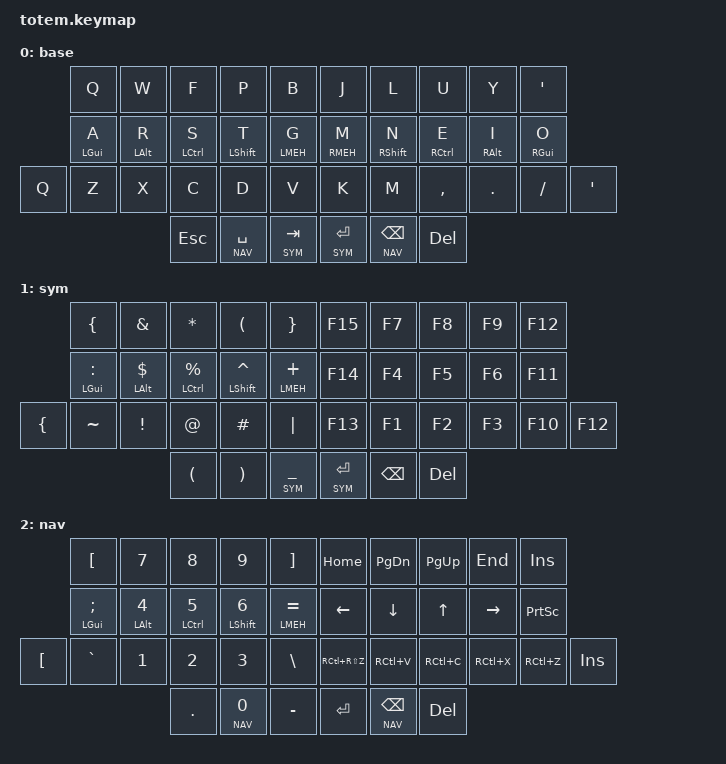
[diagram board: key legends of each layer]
//
//                                                        ▀▀▀▀▀     ▀▀▀▀▀          ▀▀█▀▀
//                                                        ▄▀▀▀▄  ▄  ▄▀▀▀▄  ▄  ▄▀▀▀▄  █  ▄▀▀▀▄
//                                                        █   █  █  █   █  █  █   █  █  █   █
//                                                         ▀▀▀   █   ▀▀▀   █   ▀▀▀   ▀   ▀▀▀
//                                                               █      ▄▄▄█▄▄▄    █   █
//                                                               ▀      █  █  █     █▄█
//                                                             ▀▀▀▀▀    █  █  █      ▀
//                                                                      ▀  ▀  ▀
//
// ▄▄▄▄▄▄▄▄▄▄▄▄▄▄▄▄▄▄▄▄▄▄▄▄▄▄▄▄▄▄▄▄▄▄▄▄▄▄▄▄▄▄▄▄▄▄▄▄▄▄▄▄▄▄▄▄▄▄▄▄▄▄▄▄▄▄▄▄▄▄▄▄▄▄▄▄▄▄▄▄▄▄▄▄▄▄▄▄▄▄▄▄▄▄▄▄▄▄▄▄▄▄▄▄▄▄▄▄▄▄▄▄▄▄▄▄▄▄▄▄▄▄▄▄▄▄▄▄▄▄▄▄▄▄▄▄▄▄▄▄▄▄▄▄▄▄▄▄▄


#include <behaviors.dtsi>
#include <dt-bindings/zmk/bt.h>
#include <dt-bindings/zmk/keys.h>
#include <dt-bindings/zmk/mouse.h>

#define BASE 0
#define SYM  1
#define NAV  2

&mt {
  quick-tap-ms = <100>;
  global-quick-tap;
  flavor = "tap-preferred";
  tapping-term-ms = <170>;
};

/ {
    behaviors {
        mht: meh_tap {
            compatible = "zmk,behavior-mod-tap";
            label = "MEH_TAP";
            #binding-cells = <2>;
            bindings = <&kp LC(LS(LALT))> <&kp>;
        };

        alt_f1: alt_f1 {
            compatible = "zmk,behavior-mod-morph";
            label = "ALT_F1";
            #binding-cells = <0>;
            bindings = <&kp N1>, <&kp F1>;

            mods = <(MOD_LALT|MOD_RALT)>;
        };

        alt_f2: alt_f2 {
            compatible = "zmk,behavior-mod-morph";
            label = "ALT_F2";
            #binding-cells = <0>;
            bindings = <&kp N2>, <&kp F2>;

            mods = <(MOD_LALT|MOD_RALT)>;
        };

        alt_f3: alt_f3 {
            compatible = "zmk,behavior-mod-morph";
            label = "ALT_F3";
            #binding-cells = <0>;
            bindings = <&kp N3>, <&kp F3>;

            mods = <(MOD_LALT|MOD_RALT)>;
        };

        alt_f4: alt_f4 {
            compatible = "zmk,behavior-mod-morph";
            label = "ALT_F4";
            #binding-cells = <0>;
            bindings = <&kp N4>, <&kp F4>;

            mods = <(MOD_LALT|MOD_RALT)>;
        };

        alt_f5: alt_f5 {
            compatible = "zmk,behavior-mod-morph";
            label = "ALT_F5";
            #binding-cells = <0>;
            bindings = <&kp N5>, <&kp F5>;

            mods = <(MOD_LALT|MOD_RALT)>;
        };

        alt_f6: alt_f6 {
            compatible = "zmk,behavior-mod-morph";
            label = "ALT_F6";
            #binding-cells = <0>;
            bindings = <&kp N6>, <&kp F6>;

            mods = <(MOD_LALT|MOD_RALT)>;
        };

        alt_f7: alt_f7 {
            compatible = "zmk,behavior-mod-morph";
            label = "ALT_F7";
            #binding-cells = <0>;
            bindings = <&kp N7>, <&kp F7>;

            mods = <(MOD_LALT|MOD_RALT)>;
        };

        alt_f8: alt_f8 {
            compatible = "zmk,behavior-mod-morph";
            label = "ALT_F8";
            #binding-cells = <0>;
            bindings = <&kp N8>, <&kp F8>;

            mods = <(MOD_LALT|MOD_RALT)>;
        };

        alt_f9: alt_f9 {
            compatible = "zmk,behavior-mod-morph";
            label = "ALT_F9";
            #binding-cells = <0>;
            bindings = <&kp N9>, <&kp F9>;

            mods = <(MOD_LALT|MOD_RALT)>;
        };

        alt_f10: alt_f10 {
            compatible = "zmk,behavior-mod-morph";
            label = "ALT_F10";
            #binding-cells = <0>;
            bindings = <&kp N0>, <&kp F10>;

            mods = <(MOD_LALT|MOD_RALT)>;
        };
    };

    combos {
        compatible = "zmk,combos";

        c_bt_previous {
            bindings = <&bt BT_PRV>;
            key-positions = <5 6>;
        };

        c_bt_next {
            bindings = <&bt BT_NXT>;
            key-positions = <6 7>;
        };

        c_bt_clear {
            bindings = <&bt BT_CLR>;
            key-positions = <5 6 7>;
        };

        bootloader {
            bindings = <&bootloader>;
            key-positions = <30 31>;
        };
    };

    keymap {
        compatible = "zmk,keymap";
// ▄▄▄▄▄▄▄▄▄▄▄▄▄▄▄▄▄▄▄▄▄▄▄▄▄▄▄▄▄▄▄▄▄▄▄▄▄▄▄▄▄▄▄▄▄▄▄▄▄▄▄▄▄▄▄▄▄▄▄▄▄▄▄▄▄▄▄▄▄▄▄▄▄▄▄▄▄▄▄▄▄▄▄▄▄▄▄▄▄▄▄▄▄▄▄▄▄▄▄▄▄▄▄▄▄▄▄▄▄▄▄▄▄▄▄▄▄▄▄▄▄▄▄▄▄▄▄▄▄▄▄▄▄▄▄▄▄▄▄▄▄▄▄▄▄▄▄▄▄

        base {
// ┏━━━━━━━━━━━━━━━━━━━━━━━━━━━━━━━━━━━━━━━┓
display-name = "base"                      ;
// ┗━━━━━━━━━━━━━━━━━━━━━━━━━━━━━━━━━━━━━━━┛
//             ┏━━━━━━━━━━━━━━━┳━━━━━━━━━━━━━━━┳━━━━━━━━━━━━━━━┳━━━━━━━━━━━━━━━┳━━━━━━━━━━━━━━━┓   ┏━━━━━━━━━━━━━━━┳━━━━━━━━━━━━━━━┳━━━━━━━━━━━━━━━┳━━━━━━━━━━━━━━━┳━━━━━━━━━━━━━━━┓
//             ┃       Q       ┃       W       ┃       F       ┃       P       ┃       G       ┃   ┃       J       ┃       L       ┃       U       ┃       Y       ┃       ;       ┃
//             ┣━━━━━━━━━━━━━━━╋━━━━━━━━━━━━━━━╋━━━━━━━━━━━━━━━╋━━━━━━━━━━━━━━━╋━━━━━━━━━━━━━━━┫   ┣━━━━━━━━━━━━━━━╋━━━━━━━━━━━━━━━╋━━━━━━━━━━━━━━━╋━━━━━━━━━━━━━━━╋━━━━━━━━━━━━━━━┫
//             ┃       A       ┃       R       ┃       S       ┃       T       ┃       D       ┃   ┃       H       ┃       N       ┃       E       ┃       I       ┃       O       ┃
// ┏━━━━━━━━━━━╋━━━━━━━━━━━━━━━╋━━━━━━━━━━━━━━━╋━━━━━━━━━━━━━━━╋━━━━━━━━━━━━━━━╋━━━━━━━━━━━━━━━┫   ┣━━━━━━━━━━━━━━━╋━━━━━━━━━━━━━━━╋━━━━━━━━━━━━━━━╋━━━━━━━━━━━━━━━╋━━━━━━━━━━━━━━━╋━━━━━━━━━━━┓
// ┃     Q     ┃       Z       ┃       X       ┃       C       ┃       V       ┃       B       ┃   ┃       K       ┃       M       ┃       ,       ┃       .       ┃       /       ┃     \     ┃
// ┗━━━━━━━━━━━┻━━━━━━━━━━━━━━━┻━━━━━━━━━━━━━━━╋━━━━━━━━━━━━━━━╋━━━━━━━━━━━━━━━╋━━━━━━━━━━━━━━━┫   ┣━━━━━━━━━━━━━━━╋━━━━━━━━━━━━━━━╋━━━━━━━━━━━━━━━╋━━━━━━━━━━━━━━━┻━━━━━━━━━━━━━━━┻━━━━━━━━━━━┛
//                                             ┃      DEL      ┃      TAB      ┃      SPC      ┃   ┃     ENTER     ┃     BSPC      ┃      DEL      ┃
//                                             ┗━━━━━━━━━━━━━━━┻━━━━━━━━━━━━━━━┻━━━━━━━━━━━━━━━┛   ┗━━━━━━━━━━━━━━━┻━━━━━━━━━━━━━━━┻━━━━━━━━━━━━━━━┛
            bindings = <
// ╷           ╷               ╷               ╷               ╷               ╷               ╷   ╷               ╷               ╷               ╷               ╷               ╷           ╷

                &kp Q           &kp W           &kp F           &kp P           &kp B               &kp J           &kp L           &kp U           &kp Y           &kp APOS
                &mt LGUI A      &mt LALT R      &mt LCTRL S     &mt LSHFT T     &mt LMEH G          &mt RMEH M      &mt RSHFT N     &mt RCTRL E     &mt RALT I      &mt RGUI O
    &kp Q       &kp Z           &kp X           &kp C           &kp D           &kp V               &kp K           &kp M           &kp COMMA       &kp DOT         &kp FSLH        &kp APOS
                                                &kp ESC         &lt NAV SPACE   &lt SYM TAB         &lt SYM RET     &lt NAV BSPC    &kp DEL
            >;
        };
// ▄▄▄▄▄▄▄▄▄▄▄▄▄▄▄▄▄▄▄▄▄▄▄▄▄▄▄▄▄▄▄▄▄▄▄▄▄▄▄▄▄▄▄▄▄▄▄▄▄▄▄▄▄▄▄▄▄▄▄▄▄▄▄▄▄▄▄▄▄▄▄▄▄▄▄▄▄▄▄▄▄▄▄▄▄▄▄▄▄▄▄▄▄▄▄▄▄▄▄▄▄▄▄▄▄▄▄▄▄▄▄▄▄▄▄▄▄▄▄▄▄▄▄▄▄▄▄▄▄▄▄▄▄▄▄▄▄▄▄▄▄▄▄▄▄▄▄▄▄

        sym_layer {
// ┏━━━━━━━━━━━━━━━━━━━━━━━━━━━━━━━━━━━━━━━┓
display-name = "sym"                       ;
// ┗━━━━━━━━━━━━━━━━━━━━━━━━━━━━━━━━━━━━━━━┛
//             ┏━━━━━━━━━━━━━━━┳━━━━━━━━━━━━━━━┳━━━━━━━━━━━━━━━┳━━━━━━━━━━━━━━━┳━━━━━━━━━━━━━━━┓   ┏━━━━━━━━━━━━━━━┳━━━━━━━━━━━━━━━┳━━━━━━━━━━━━━━━┳━━━━━━━━━━━━━━━┳━━━━━━━━━━━━━━━┓
//             ┃       {       ┃       &       ┃       *       ┃       (       ┃       }       ┃   ┃      F15      ┃      F7       ┃      F8       ┃      F9       ┃      F12      ┃
//             ┣━━━━━━━━━━━━━━━╋━━━━━━━━━━━━━━━╋━━━━━━━━━━━━━━━╋━━━━━━━━━━━━━━━╋━━━━━━━━━━━━━━━┫   ┣━━━━━━━━━━━━━━━╋━━━━━━━━━━━━━━━╋━━━━━━━━━━━━━━━╋━━━━━━━━━━━━━━━╋━━━━━━━━━━━━━━━┫
//             ┃       :       ┃       $       ┃       %       ┃       ^       ┃       +       ┃   ┃      F14      ┃      F4       ┃      F5       ┃      F6       ┃      F11      ┃
// ┏━━━━━━━━━━━╋━━━━━━━━━━━━━━━╋━━━━━━━━━━━━━━━╋━━━━━━━━━━━━━━━╋━━━━━━━━━━━━━━━╋━━━━━━━━━━━━━━━┫   ┣━━━━━━━━━━━━━━━╋━━━━━━━━━━━━━━━╋━━━━━━━━━━━━━━━╋━━━━━━━━━━━━━━━╋━━━━━━━━━━━━━━━╋━━━━━━━━━━━┓
// ┃     {     ┃       ~       ┃       !       ┃       @       ┃       #       ┃       |       ┃   ┃      F13      ┃      F1       ┃      F2       ┃      F3       ┃      F10      ┃           ┃
// ┗━━━━━━━━━━━┻━━━━━━━━━━━━━━━┻━━━━━━━━━━━━━━━╋━━━━━━━━━━━━━━━╋━━━━━━━━━━━━━━━╋━━━━━━━━━━━━━━━┫   ┣━━━━━━━━━━━━━━━╋━━━━━━━━━━━━━━━╋━━━━━━━━━━━━━━━╋━━━━━━━━━━━━━━━┻━━━━━━━━━━━━━━━┻━━━━━━━━━━━┛
//                                             ┃       (       ┃       )       ┃       _       ┃   ┃     ENTER     ┃     BSPC      ┃      DEL      ┃
//                                             ┗━━━━━━━━━━━━━━━┻━━━━━━━━━━━━━━━┻━━━━━━━━━━━━━━━┛   ┗━━━━━━━━━━━━━━━┻━━━━━━━━━━━━━━━┻━━━━━━━━━━━━━━━┛
            bindings = <
// ╷           ╷               ╷               ╷               ╷               ╷               ╷   ╷               ╷               ╷               ╷               ╷               ╷           ╷

                &kp LBRC        &kp AMPS        &kp STAR        &kp LPAR        &kp RBRC            &kp F15         &kp F7          &kp F8          &kp F9          &kp F12
                &mt LGUI COLON  &mt LALT DLLR   &mt LCTRL PRCNT &mt LSHFT CARET &mt LMEH PLUS       &kp F14         &kp F4          &kp F5          &kp F6          &kp F11
    &kp LBRC    &kp TILDE       &kp EXCL        &kp AT          &kp HASH        &kp PIPE            &kp F13         &kp F1          &kp F2          &kp F3          &kp F10         &kp F12
                                                &kp LPAR        &kp RPAR        &lt SYM UNDER       &lt SYM RET     &kp BSPC        &kp DEL
            >;
        };
// ▄▄▄▄▄▄▄▄▄▄▄▄▄▄▄▄▄▄▄▄▄▄▄▄▄▄▄▄▄▄▄▄▄▄▄▄▄▄▄▄▄▄▄▄▄▄▄▄▄▄▄▄▄▄▄▄▄▄▄▄▄▄▄▄▄▄▄▄▄▄▄▄▄▄▄▄▄▄▄▄▄▄▄▄▄▄▄▄▄▄▄▄▄▄▄▄▄▄▄▄▄▄▄▄▄▄▄▄▄▄▄▄▄▄▄▄▄▄▄▄▄▄▄▄▄▄▄▄▄▄▄▄▄▄▄▄▄▄▄▄▄▄▄▄▄▄▄▄▄

        nav_layer {
// ┏━━━━━━━━━━━━━━━━━━━━━━━━━━━━━━━━━━━━━━━┓
display-name = "nav"                       ;
// ┗━━━━━━━━━━━━━━━━━━━━━━━━━━━━━━━━━━━━━━━┛
//             ┏━━━━━━━━━━━━━━━┳━━━━━━━━━━━━━━━┳━━━━━━━━━━━━━━━┳━━━━━━━━━━━━━━━┳━━━━━━━━━━━━━━━┓   ┏━━━━━━━━━━━━━━━┳━━━━━━━━━━━━━━━┳━━━━━━━━━━━━━━━┳━━━━━━━━━━━━━━━┳━━━━━━━━━━━━━━━┓
//             ┃       [       ┃       7       ┃       8       ┃       9       ┃       ]       ┃   ┃     HOME      ┃     PG_DN     ┃     PG_UP     ┃      END      ┃      INS      ┃
//             ┣━━━━━━━━━━━━━━━╋━━━━━━━━━━━━━━━╋━━━━━━━━━━━━━━━╋━━━━━━━━━━━━━━━╋━━━━━━━━━━━━━━━┫   ┣━━━━━━━━━━━━━━━╋━━━━━━━━━━━━━━━╋━━━━━━━━━━━━━━━╋━━━━━━━━━━━━━━━╋━━━━━━━━━━━━━━━┫
//             ┃       ;       ┃       4       ┃       5       ┃       6       ┃       =       ┃   ┃     LEFT      ┃     DOWN      ┃      UP       ┃     RIGHT     ┃     PSCRN     ┃
// ┏━━━━━━━━━━━╋━━━━━━━━━━━━━━━╋━━━━━━━━━━━━━━━╋━━━━━━━━━━━━━━━╋━━━━━━━━━━━━━━━╋━━━━━━━━━━━━━━━┫   ┣━━━━━━━━━━━━━━━╋━━━━━━━━━━━━━━━╋━━━━━━━━━━━━━━━╋━━━━━━━━━━━━━━━╋━━━━━━━━━━━━━━━╋━━━━━━━━━━━┓
// ┃     [     ┃       `       ┃       1       ┃       2       ┃       3       ┃       \       ┃   ┃  CTRL+SHFT+Z  ┃    CTRL+V     ┃    CTRL+C     ┃    CTRL+X     ┃    CTRL+Z     ┃    INS    ┃
// ┗━━━━━━━━━━━┻━━━━━━━━━━━━━━━┻━━━━━━━━━━━━━━━╋━━━━━━━━━━━━━━━╋━━━━━━━━━━━━━━━╋━━━━━━━━━━━━━━━┫   ┣━━━━━━━━━━━━━━━╋━━━━━━━━━━━━━━━╋━━━━━━━━━━━━━━━╋━━━━━━━━━━━━━━━┻━━━━━━━━━━━━━━━┻━━━━━━━━━━━┛
//                                             ┃       .       ┃       0       ┃       -       ┃   ┃     ENTER     ┃     BSPC      ┃      DEL      ┃
//                                             ┗━━━━━━━━━━━━━━━┻━━━━━━━━━━━━━━━┻━━━━━━━━━━━━━━━┛   ┗━━━━━━━━━━━━━━━┻━━━━━━━━━━━━━━━┻━━━━━━━━━━━━━━━┛
            bindings = <
// ╷           ╷               ╷               ╷               ╷               ╷               ╷   ╷               ╷               ╷               ╷               ╷               ╷           ╷

                &kp LBKT        &kp N7          &kp N8          &kp N9          &kp RBKT            &kp HOME        &kp PG_DN       &kp PG_UP       &kp END         &kp INS
                &mt LGUI SEMI   &mt LALT N4     &mt LCTRL N5    &mt LSHFT N6    &mt LMEH EQUAL      &kp LEFT        &kp DOWN        &kp UP          &kp RIGHT       &kp PSCRN
    &kp LBKT    &kp GRAVE       &kp N1          &kp N2          &kp N3          &kp BSLH            &kp RC(RS(Z))   &kp RC(V)       &kp RC(C)       &kp RC(X)       &kp RC(Z)       &kp INS
                                                &kp DOT         &lt NAV N0      &kp MINUS           &kp RET         &lt NAV BSPC    &kp DEL
            >;
        };
// ▄▄▄▄▄▄▄▄▄▄▄▄▄▄▄▄▄▄▄▄▄▄▄▄▄▄▄▄▄▄▄▄▄▄▄▄▄▄▄▄▄▄▄▄▄▄▄▄▄▄▄▄▄▄▄▄▄▄▄▄▄▄▄▄▄▄▄▄▄▄▄▄▄▄▄▄▄▄▄▄▄▄▄▄▄▄▄▄▄▄▄▄▄▄▄▄▄▄▄▄▄▄▄▄▄▄▄▄▄▄▄▄▄▄▄▄▄▄▄▄▄▄▄▄▄▄▄▄▄▄▄▄▄▄▄▄▄▄▄▄▄▄▄▄▄▄▄▄▄
    };
};
